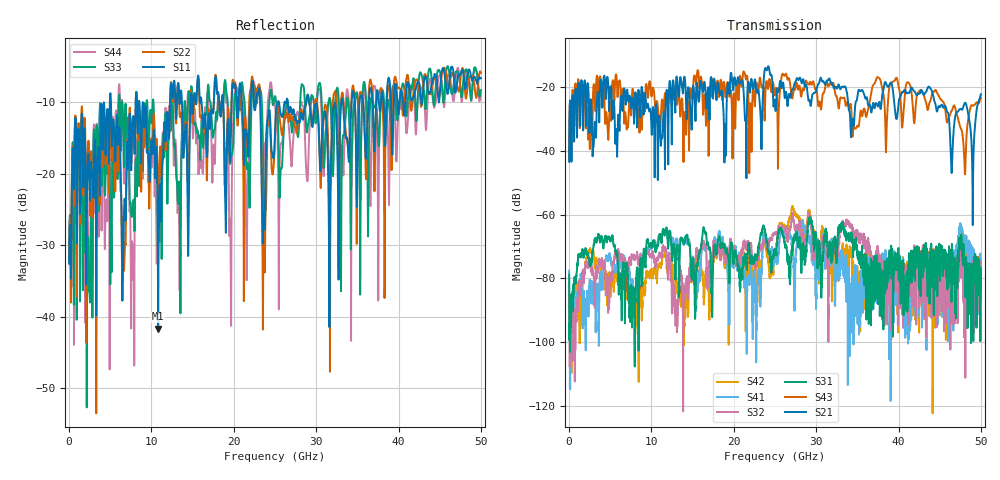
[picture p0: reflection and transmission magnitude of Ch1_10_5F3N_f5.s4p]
!Agilent Technologies,N5247A,US51170199,A.09.90.13
!Agilent N5247A: A.09.90.13
!Date: Wednesday, December 09, 2015 09:30:52
!Correction: S11(Full 4 Port(1,2,3,4))
!S12(Full 4 Port(1,2,3,4))
!S13(Full 4 Port(1,2,3,4))
!S14(Full 4 Port(1,2,3,4))
!S21(Full 4 Port(1,2,3,4))
!S22(Full 4 Port(1,2,3,4))
!S23(Full 4 Port(1,2,3,4))
!S24(Full 4 Port(1,2,3,4))
!S31(Full 4 Port(1,2,3,4))
!S32(Full 4 Port(1,2,3,4))
!S33(Full 4 Port(1,2,3,4))
!S34(Full 4 Port(1,2,3,4))
!S41(Full 4 Port(1,2,3,4))
!S42(Full 4 Port(1,2,3,4))
!S43(Full 4 Port(1,2,3,4))
!S44(Full 4 Port(1,2,3,4))
!S4P File: Measurements: <S11,S12,S13,S14>,
!<S21,S22,S23,S24>,
!<S31,S32,S33,S34>,
!<S41,S42,S43,S44>:
# Hz S  dB  R 50
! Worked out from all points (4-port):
!   3201 points, 10 MHz to 50 GHz, reference 50 ohm
!   strongest paths, dB at 10 MHz, 12.51 GHz, 25 GHz, 37.5 GHz, 50 GHz:
!     S21: -43.5, -27.6, -25.5, -26.2, -22.4
!     S43: -42.6, -21.6, -22.5, -17.0, -23.6
!     S31: -78.8, -74.6, -71.0, -81.0, -83.6
!     S32: -84.8, -85.6, -66.3, -73.8, -74.8
!     S41: -77.6, -67.6, -73.9, -80.2, -76.5
!     S42: -93.4, -75.4, -71.9, -80.4, -79.0
!   lowest |S11| = -41.7 dB at 10.82 GHz (marker M1), VSWR 1.02, Z = 49.7 + j0.775 ohm
!   |S11| at or under -10 dB: start of sweep to 4.951 GHz; 8.542 GHz to 12.26 GHz (3.72 GHz wide, 35.8 % of centre); 29.15 GHz to 33.06 GHz (3.906 GHz wide, 12.6 % of centre)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
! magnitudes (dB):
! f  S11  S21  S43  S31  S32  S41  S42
! 10 MHz  -32.6  -43.5  -42.6  -78.8  -84.8  -77.6  -93.4
! 6.228 GHz  -17.1  -25.2  -20.0  -79.7  -74.0  -73.9  -80.8
! 7.696 GHz  -12.9  -23.5  -20.8  -84.5  -72.7  -80.2  -87.4
! 10.82 GHz  -41.7  -37.1  -27.7  -69.7  -74.2  -67.9  -76.4
! 27.18 GHz  -11.3  -20.8  -22.8  -69.1  -60.5  -72.1  -57.6
! 49 GHz  -6.8  -60.1  -26.0  -82.8  -78.0  -72.1  -79.8
! 50 GHz  -6.6  -22.4  -23.6  -83.6  -74.8  -76.5  -79.0
